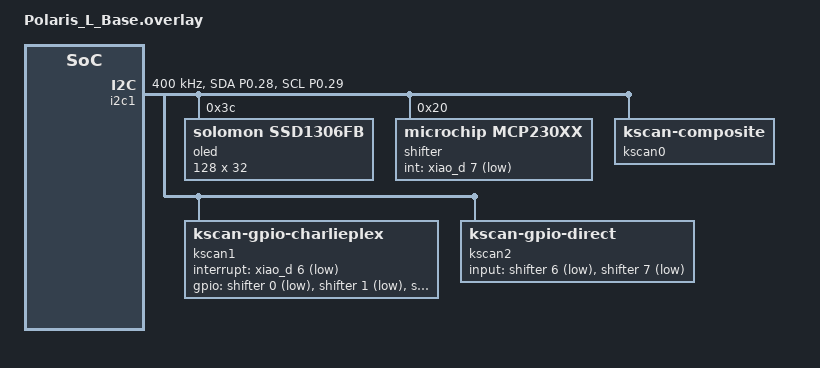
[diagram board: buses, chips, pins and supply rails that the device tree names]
#include "Polaris.dtsi"
#include "Polaris_L_interior.dsti"
#include <input/processors/runtime-input-processor.dtsi>

/ {
    chosen {
        zephyr,display = &oled;
    };
};

&pinctrl {    
    i2c1_default: i2c1_default {
        group1 {
            psels = <NRF_PSEL(TWIM_SDA, 0, 28)>,
                    <NRF_PSEL(TWIM_SCL, 0, 29)>;
            bias-pull-up;
        };
    };
      
    i2c1_sleep: i2c1_sleep {
        group1 {
            psels = <NRF_PSEL(TWIM_SDA, 0, 28)>,
                    <NRF_PSEL(TWIM_SCL, 0, 29)>;
            low-power-enable;
            bias-pull-up;
        };
    };
};

&i2c1 {
    status = "okay";
    compatible = "nordic,nrf-twi";
    pinctrl-0 = <&i2c1_default>;
    pinctrl-1 = <&i2c1_sleep>;
    pinctrl-names = "default", "sleep";
    clock-frequency = <I2C_BITRATE_FAST>; 
    
    oled: ssd1306@3c {
        compatible = "solomon,ssd1306fb";
        reg = <0x3c>;
        width = <128>;
        height = <32>;
        segment-offset = <0>;
        page-offset = <0>;
        display-offset = <0>;
        multiplex-ratio = <31>;
        segment-remap;
        com-invdir;
        com-sequential;
        inversion-on;
        prechargep = <0x22>;
    };
    
    shifter: mcp230xx@20 {
        status = "okay";
        compatible = "microchip,mcp230xx";
        gpio-controller;
        reg = <0x20>;
        #gpio-cells = <2>;
        ngpios = <16>;
        int-gpios = <&xiao_d 7 GPIO_ACTIVE_LOW>;
    };
    
    kscan0: kscan_composite {
        compatible = "zmk,kscan-composite";
        matrix {
            kscan = <&kscan1>;
        };
        direct {
            kscan = <&kscan2>;
            row-offset = <8>;
        };
    };

    kscan1: kscan1 {
        compatible = "zmk,kscan-gpio-charlieplex";
        interrupt-gpios = <&xiao_d 6 (GPIO_ACTIVE_LOW)>;
        gpios
            = <&shifter 0 (GPIO_ACTIVE_LOW)>
            , <&shifter 1 (GPIO_ACTIVE_LOW)>
            , <&shifter 2 (GPIO_ACTIVE_LOW)>
            , <&shifter 3 (GPIO_ACTIVE_LOW)>
            , <&shifter 4 (GPIO_ACTIVE_LOW)>
            , <&shifter 5 (GPIO_ACTIVE_LOW)>
            ;
    };
    
    kscan2: kscan2 {
        compatible = "zmk,kscan-gpio-direct";
        input-gpios
            = <&shifter 6 (GPIO_ACTIVE_LOW | GPIO_PULL_UP)>
            , <&shifter 7 (GPIO_ACTIVE_LOW | GPIO_PULL_UP)>
            ;
    };
};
